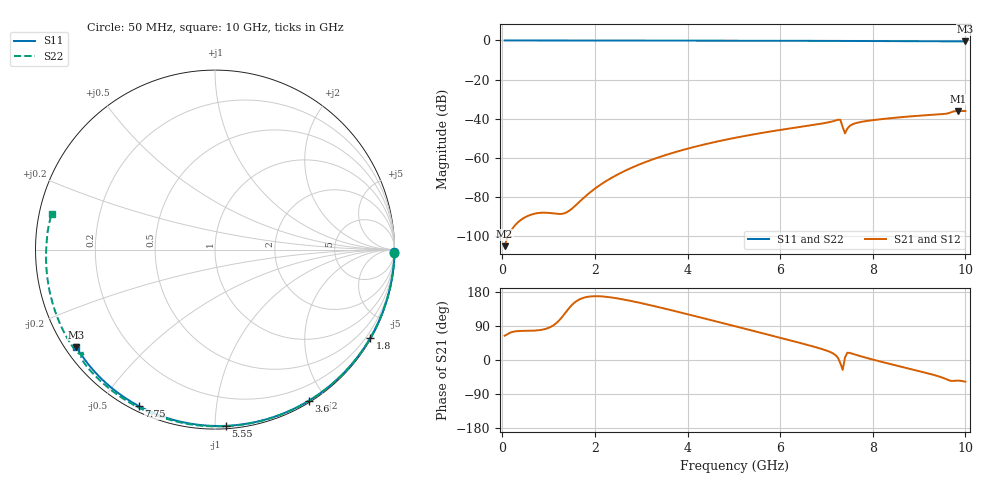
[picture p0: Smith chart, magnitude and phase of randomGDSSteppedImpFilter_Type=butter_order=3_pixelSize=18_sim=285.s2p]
! freq	dB(S11)	phase(S11)	dB(S12)	phase(S12)
!  dB(S21)	phase(S21)	dB(S22)	phase(S22)
!S-par simulation data
#  GHz  S  DB  R 50
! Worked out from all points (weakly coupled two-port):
!   200 points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, 50 MHz to 10 GHz, reference 50 ohm
!   highest |S21| = -36.03 dB at 9.85 GHz (marker M1); lowest = -105.1 dB at 50 MHz (marker M2)
!   lowest |S11| = -0.5 dB at 10 GHz (marker M3), VSWR 34.57, Z = 1.59 - j15.8 ohm
!   |S11| at or under -10 dB: nowhere
!   |S22| runs from -0.7 to 0.0 dB; largest |S21 - S12| = 0
!   S11 on the Smith chart (normalised r, x): 50 MHz: open; 1.8 GHz: 0.03, -3.76; 3.6 GHz: 0.02, -1.80; 5.55 GHz: 0.02, -1.06; 7.75 GHz: 0.02, -0.62; 10 GHz: 0.03, -0.32
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0.05  -0.00 -0.8  -105.09 64.1  -105.09 64.1  -0.00 -1.1
0.85  -0.02 -14.2  -88.00 79.7  -88.00 79.7  -0.02 -18.2
1.75  -0.04 -29.0  -80.58 164.0  -80.58 164.0  -0.05 -37.0
1.8  -0.04 -29.8  -79.53 165.7  -79.53 165.7  -0.05 -38.1
2.15  -0.05 -35.4  -73.21 167.8  -73.21 167.8  -0.06 -45.2
2.5  -0.05 -41.0  -68.35 162.3  -68.35 162.3  -0.07 -52.3
2.9  -0.06 -47.3  -63.93 152.7  -63.93 152.7  -0.08 -60.3
3.4  -0.07 -55.0  -59.51 138.8  -59.51 138.8  -0.09 -70.0
3.6  -0.08 -58.1  -58.00 132.9  -58.00 132.9  -0.10 -73.9
4.3  -0.10 -68.5  -53.47 111.6  -53.47 111.6  -0.12 -87.1
5.05  -0.12 -79.4  -49.62 88.4  -49.62 88.4  -0.15 -100.9
5.55  -0.14 -86.5  -47.46 72.8  -47.46 72.8  -0.18 -109.9
6.7  -0.20 -102.2  -43.21 36.1  -43.21 36.1  -0.25 -130.4
7.3  -0.24 -110.2  -40.55 -8.4  -40.55 -8.4  -0.53 -142.3
7.4  -0.25 -111.4  -47.48 6.7  -47.48 6.7  -0.52 -141.5
7.45  -0.25 -112.1  -45.04 19.0  -45.04 19.0  -0.41 -142.5
7.5  -0.25 -112.7  -43.71 18.8  -43.71 18.8  -0.37 -143.7
7.75  -0.27 -116.0  -41.60 9.5  -41.60 9.5  -0.36 -148.6
8.35  -0.32 -123.7  -39.78 -9.8  -39.78 -9.8  -0.41 -159.8
9.55  -0.44 -139.1  -37.52 -48.6  -37.52 -48.6  -0.55 176.9
9.85  -0.48 -142.9  -36.03 -54.4  -36.03 -54.4  -0.58 170.7
10  -0.50 -144.9  -36.03 -57.0  -36.03 -57.0  -0.61 167.6
